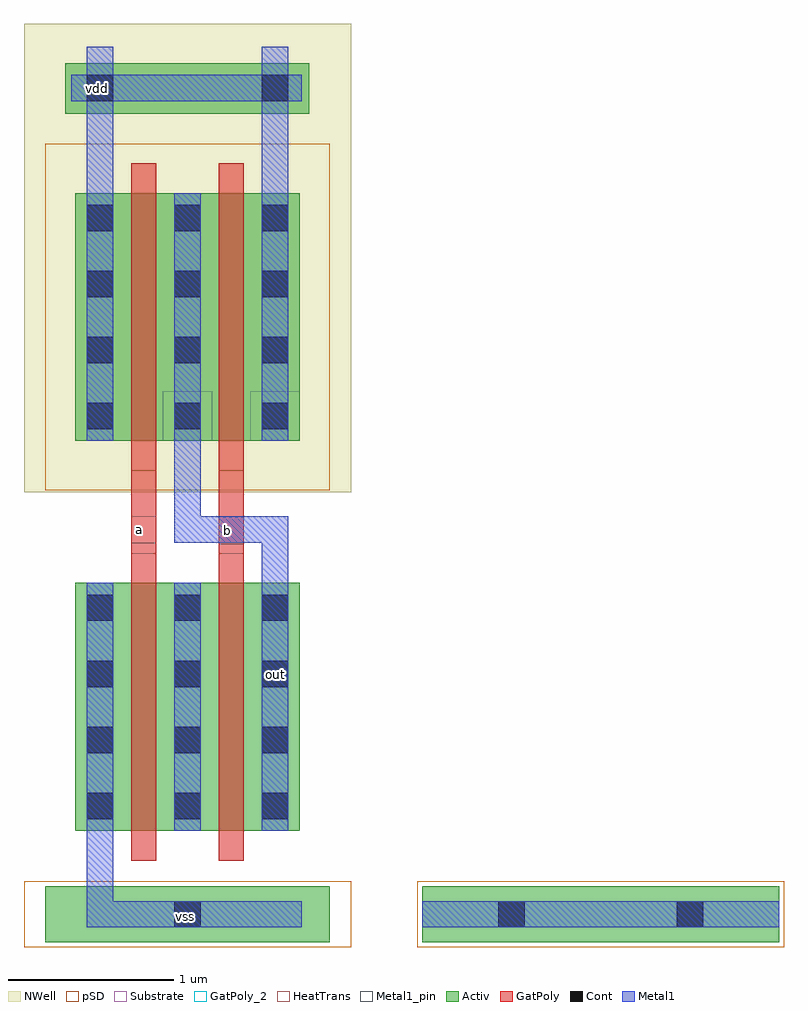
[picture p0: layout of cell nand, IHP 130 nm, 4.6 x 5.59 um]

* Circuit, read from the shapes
.subckt nand a b out vdd vss
XM1 n1 a vss vss sg13_lv_nmos w=1.5u l=0.15u
XM2 out b n1 vss sg13_lv_nmos w=1.5u l=0.15u
XM3 out a vdd vdd sg13_lv_pmos w=1.5u l=0.15u
XM4 vdd b out vdd sg13_lv_pmos w=1.5u l=0.15u
.ends

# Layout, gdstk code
import gdstk
lib = gdstk.Library(unit=1e-6, precision=5e-09)
def R(c, l, rs):  # rectangles x0, y0, x1, y1
    for r in rs: c.add(gdstk.rectangle(r[:2], r[2:], *l))
def A(c, l, x, y, w, h, nx, ny, dx, dy):  # array of equal rectangles
    R(c, l, [(x+i*dx, y+j*dy, x+i*dx+w, y+j*dy+h) for i in range(nx) for j in range(ny)])
def P(c, l, *ps):  # polygons
    for p in ps: c.add(gdstk.Polygon(p, *l))
Activ = (1, 0)
GatPoly = (5, 0)
GatPoly_2 = (5, 2)
Cont = (6, 0)
Metal1 = (8, 0)
Metal1_pin = (8, 2)
pSD = (14, 0)
NWell = (31, 0)
Substrate = (40, 0)
HeatTrans = (51, 0)

nmos_1 = lib.new_cell('nmos$1')
R(nmos_1, Activ, [(0,0,0.3,0.3), (0,0,0.83,1.5), (0.53,0,0.83,0.3)])
R(nmos_1, GatPoly, [(0.34,-0.18,0.49,1.68)])
R(nmos_1, GatPoly_2, [(0.34,-0.18,0.49,1.68)])
A(nmos_1, Cont, 0.07, 0.07, 0.16, 0.16, 1, 4, 0, 0.4)
A(nmos_1, Cont, 0.6, 0.07, 0.16, 0.16, 1, 4, 0, 0.4)
R(nmos_1, Metal1, [(0.07,0,0.23,1.5), (0.6,0,0.76,1.5)])
R(nmos_1, Metal1_pin, [(0.07,0,0.23,1.5), (0.6,0,0.76,1.5)])
R(nmos_1, HeatTrans, [(0.34,-0.18,0.49,1.68)])
nmos_1.add(gdstk.Label('nmos', (0.415,0.75), layer=63, texttype=0))
nmos_1.add(gdstk.Label('nmos', (0.415,0.75), layer=51, texttype=0))

pmos = lib.new_cell('pmos')
R(pmos, Activ, [(0,0,0.3,0.3), (0,0,0.83,1.5), (0.53,0,0.83,0.3)])
R(pmos, GatPoly, [(0.34,-0.18,0.49,1.68), (0.34,-0.18,0.49,1.68)])
A(pmos, Cont, 0.07, 0.07, 0.16, 0.16, 1, 4, 0, 0.4)
A(pmos, Cont, 0.6, 0.07, 0.16, 0.16, 1, 4, 0, 0.4)
R(pmos, Metal1, [(0.07,0,0.23,1.5), (0.07,0,0.23,1.5), (0.6,0,0.76,1.5), (0.6,0,0.76,1.5)])
R(pmos, pSD, [(-0.18,-0.3,1.01,1.8)])
R(pmos, NWell, [(-0.31,-0.31,1.14,1.81)])
R(pmos, Substrate, [(0.53,0,0.83,0.3)])
R(pmos, HeatTrans, [(0.34,-0.18,0.49,1.68)])
pmos.add(gdstk.Label('pmos', (0.415,0.75), layer=63, texttype=0))
pmos.add(gdstk.Label('pmos', (0.415,0.75), layer=51, texttype=0))

m1_cont1_nmos = lib.new_cell('M1_Cont1_NMOS')
R(m1_cont1_nmos, Activ, [(-0.53,-0.175,0.55,0.165)])
R(m1_cont1_nmos, Cont, [(-0.07,-0.085,0.09,0.075)])
R(m1_cont1_nmos, Metal1, [(-0.53,-0.085,0.55,0.075)])
R(m1_cont1_nmos, Metal1_pin, [(-0.53,-0.085,0.55,0.075)])
R(m1_cont1_nmos, pSD, [(-0.56,-0.205,0.58,0.195)])

m1_bulkcont1_nmos = lib.new_cell('M1_BulkCont1_NMOS')
r = gdstk.Reference(m1_cont1_nmos, (0.005,0.01)); r.repetition = gdstk.Repetition(2, 1, v1=(1.08,0), v2=(0,0)); m1_bulkcont1_nmos.add(r)

nand = lib.new_cell('nand')
R(nand, Activ, [(-2.805,-1.84,-1.085,-1.5), (-2.685,3.175,-1.21,3.48)])
R(nand, GatPoly, [(-2.285,-0.62,-2.135,1.06), (-1.755,-0.62,-1.605,1.07)])
R(nand, GatPoly_2, [(-1.755,0.57,-1.605,0.735), (-2.285,0.575,-2.135,0.74)])
R(nand, Cont, [(-2.025,-1.75,-1.865,-1.59), (-2.555,3.25,-2.395,3.41), (-1.495,3.25,-1.335,3.41)])
R(nand, Metal1, [(-1.495,0.09,-1.335,0.555), (-2.555,2.465,-2.395,3.58), (-1.495,2.695,-1.335,3.58), (-2.65,3.25,-1.255,3.41)])
P(nand, Metal1, [(-2.025,1.195),(-2.025,1.195),(-1.865,1.195),(-1.865,1.195)])
R(nand, Metal1_pin, [(-1.495,-0.295,-1.335,-0.135), (-2.555,3.25,-2.395,3.41), (-1.495,3.25,-1.335,3.41)])
R(nand, pSD, [(-2.935,-1.87,-0.955,-1.47)])
R(nand, NWell, [(-2.935,3.005,-0.955,3.72)])
nand.add(gdstk.FlexPath([(-2.475,-1.015),(-2.475,-1.67),(-1.335,-1.67),(-1.255,-1.67)], 0.16, ends="flush", simple_path=True, layer=8, datatype=0))  # Metal1
nand.add(gdstk.FlexPath([(-1.415,0.105),(-1.415,-0.025)], 0.16, ends="flush", simple_path=True, layer=8, datatype=0))  # Metal1
nand.add(gdstk.FlexPath([(-1.945,1.345),(-1.945,0.66),(-1.415,0.66),(-1.415,0.335),(-1.39,0.335)], 0.16, ends="flush", simple_path=True, layer=8, datatype=0))  # Metal1
nand.add(gdstk.Reference(nmos_1, (-2.625,-1.165)))
nand.add(gdstk.Reference(nmos_1, (-2.095,-1.165)))
nand.add(gdstk.Reference(pmos, (-2.625,1.195)))
nand.add(gdstk.Reference(pmos, (-2.095,1.195)))
nand.add(gdstk.Reference(m1_bulkcont1_nmos, (0,-1.675)))
nand.add(gdstk.Label('vss', (-1.955,-1.685), layer=8, texttype=2))
nand.add(gdstk.Label('vdd', (-2.49,3.325), layer=8, texttype=2))
nand.add(gdstk.Label('out', (-1.415,-0.22), layer=8, texttype=2))
nand.add(gdstk.Label('b', (-1.705,0.655), layer=5, texttype=2))
nand.add(gdstk.Label('a', (-2.235,0.66), layer=5, texttype=2))

lib.write_gds('nand.gds')
